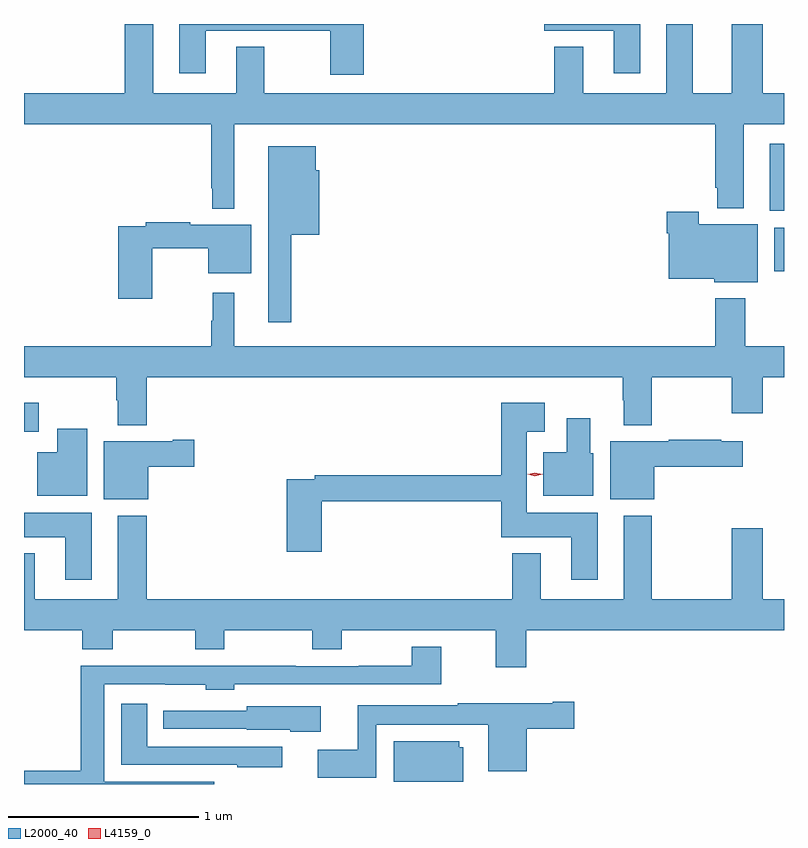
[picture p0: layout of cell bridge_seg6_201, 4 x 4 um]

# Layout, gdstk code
import gdstk
lib = gdstk.Library(unit=1e-6, precision=1e-09)
def R(c, l, rs):  # rectangles x0, y0, x1, y1
    for r in rs: c.add(gdstk.rectangle(r[:2], r[2:], *l))
def P(c, l, *ps):  # polygons
    for p in ps: c.add(gdstk.Polygon(p, *l))
L2000_40 = (2000, 40)
L4159_0 = (4159, 0)

bridge_seg6_201 = lib.new_cell('bridge_seg6_201')
R(bridge_seg6_201, L2000_40, [(137.308,955.043,137.386,955.195), (141.257,955.886,141.308,956.116), (141.233,956.204,141.308,956.557)])
P(bridge_seg6_201, L2000_40, [(138.415,956.66),(140.945,956.66),(140.945,956.326),(140.957,956.326),(140.957,956.219),(141.097,956.219),(141.097,956.66),(141.308,956.66),(141.308,956.824),(141.196,956.824),(141.196,957.188),(141.032,957.188),(141.032,956.824),(140.827,956.824),(140.827,957.188),(140.687,957.188),(140.687,956.824),(140.251,956.824),(140.251,957.067),(140.099,957.067),(140.099,956.824),(138.573,956.824),(138.573,957.067),(138.425,957.067),(138.425,956.824),(137.989,956.824),(137.989,957.188),(137.837,957.188),(137.837,956.824),(137.308,956.824),(137.308,956.66),(138.294,956.66),(138.294,956.323),(138.3,956.323),(138.3,956.216),(138.415,956.216)],
  [(140.551,957.188),(140.047,957.188),(140.047,957.152),(140.411,957.152),(140.411,956.928),(140.551,956.928)],
  [(139.097,957.188),(138.125,957.188),(138.125,956.928),(138.265,956.928),(138.265,957.152),(138.618,957.152),(138.618,957.153),(138.919,957.153),(138.919,956.922),(139.097,956.922)],
  [(138.715,956.078),(138.862,956.078),(138.862,956.418),(138.844,956.418),(138.844,956.545),(138.593,956.545),(138.593,955.617),(138.715,955.617)],
  [(141.169,956.134),(140.86,956.134),(140.86,956.2),(140.69,956.2),(140.69,956.087),(140.702,956.087),(140.702,955.847),(140.94,955.847),(140.94,955.829),(141.169,955.829)],
  [(137.982,956.008),(138.278,956.008),(138.278,955.877),(138.505,955.877),(138.505,956.131),(138.182,956.131),(138.182,956.144),(137.95,956.144),(137.95,956.124),(137.804,956.124),(137.804,955.743),(137.982,955.743)],
  [(137.954,955.328),(140.458,955.328),(140.458,955.208),(140.465,955.208),(140.465,955.076),(140.613,955.076),(140.613,955.328),(141.032,955.328),(141.032,955.14),(141.196,955.14),(141.196,955.328),(141.308,955.328),(141.308,955.492),(141.105,955.492),(141.105,955.744),(140.945,955.744),(140.945,955.492),(138.415,955.492),(138.415,955.774),(138.301,955.774),(138.301,955.625),(138.294,955.625),(138.294,955.492),(137.308,955.492),(137.308,955.328),(137.794,955.328),(137.794,955.208),(137.801,955.208),(137.801,955.076),(137.954,955.076)],
  [(140.329,954.616),(139.954,954.616),(139.954,955.043),(140.05,955.043),(140.05,955.195),(139.82,955.195),(139.82,954.812),(138.838,954.812),(138.838,954.792),(138.692,954.792),(138.692,954.411),(138.875,954.411),(138.875,954.676),(139.82,954.676),(139.82,954.488),(140.189,954.488),(140.189,954.264),(140.329,954.264)],
  [(140.305,954.93),(140.287,954.93),(140.287,955.114),(140.165,955.114),(140.165,954.934),(140.042,954.934),(140.042,954.704),(140.305,954.704)],
  [(137.641,955.057),(137.483,955.057),(137.483,954.934),(137.378,954.934),(137.378,954.704),(137.641,954.704)],
  [(140.626,954.857),(141.091,954.857),(141.091,954.991),(140.978,954.991),(140.978,954.999),(140.701,954.999),(140.701,954.991),(140.393,954.991),(140.393,954.686),(140.626,954.686)],
  [(137.962,954.857),(138.205,954.857),(138.205,954.999),(138.092,954.999),(138.092,954.991),(137.729,954.991),(137.729,954.686),(137.962,954.686)],
  [(137.665,954.616),(137.308,954.616),(137.308,954.488),(137.525,954.488),(137.525,954.264),(137.665,954.264)],
  [(139.952,953.996),(141.308,953.996),(141.308,954.16),(141.196,954.16),(141.196,954.535),(141.032,954.535),(141.032,954.16),(140.613,954.16),(140.613,954.601),(140.465,954.601),(140.465,954.16),(140.029,954.16),(140.029,954.403),(139.877,954.403),(139.877,954.16),(137.954,954.16),(137.954,954.601),(137.801,954.601),(137.801,954.16),(137.365,954.16),(137.365,954.403),(137.308,954.403),(137.308,953.996),(137.615,953.996),(137.615,953.897),(137.775,953.897),(137.775,953.996),(138.208,953.996),(138.208,953.897),(138.363,953.897),(138.363,953.996),(138.826,953.996),(138.826,953.897),(138.981,953.897),(138.981,953.996),(139.792,953.996),(139.792,953.802),(139.952,953.802)],
  [(138.31,953.199),(137.731,953.199),(137.731,953.712),(138.052,953.712),(138.052,953.711),(138.264,953.711),(138.264,953.684),(138.414,953.684),(138.414,953.712),(139.503,953.712),(139.503,953.911),(139.348,953.911),(139.348,953.81),(139.069,953.81),(139.069,953.808),(138.737,953.808),(138.737,953.81),(137.606,953.81),(137.606,953.258),(137.308,953.258),(137.308,953.188),(138.31,953.188)],
  [(139.161,953.501),(139.751,953.501),(139.751,953.255),(139.954,953.255),(139.954,953.48),(140.203,953.48),(140.203,953.622),(140.09,953.622),(140.09,953.614),(139.718,953.614),(139.718,953.612),(139.591,953.612),(139.591,953.602),(139.064,953.602),(139.064,953.368),(138.855,953.368),(138.855,953.222),(139.161,953.222)],
  [(138.667,953.385),(137.956,953.385),(137.956,953.611),(137.819,953.611),(137.819,953.289),(138.431,953.289),(138.431,953.276),(138.667,953.276)],
  [(138.871,953.596),(138.48,953.596),(138.48,953.574),(138.041,953.574),(138.041,953.478),(138.48,953.478),(138.48,953.474),(138.708,953.474),(138.708,953.463),(138.871,953.463)],
  [(139.621,953.382),(139.599,953.382),(139.599,953.413),(139.253,953.413),(139.253,953.201),(139.621,953.201)])
P(bridge_seg6_201, L4159_0, [(139.997,954.807),(139.958,954.817),(139.957,954.817),(139.958,954.817),(139.997,954.827),(140.037,954.818),(140.037,954.818),(140.037,954.817)])

lib.write_gds('bridge_seg6_201.gds')
